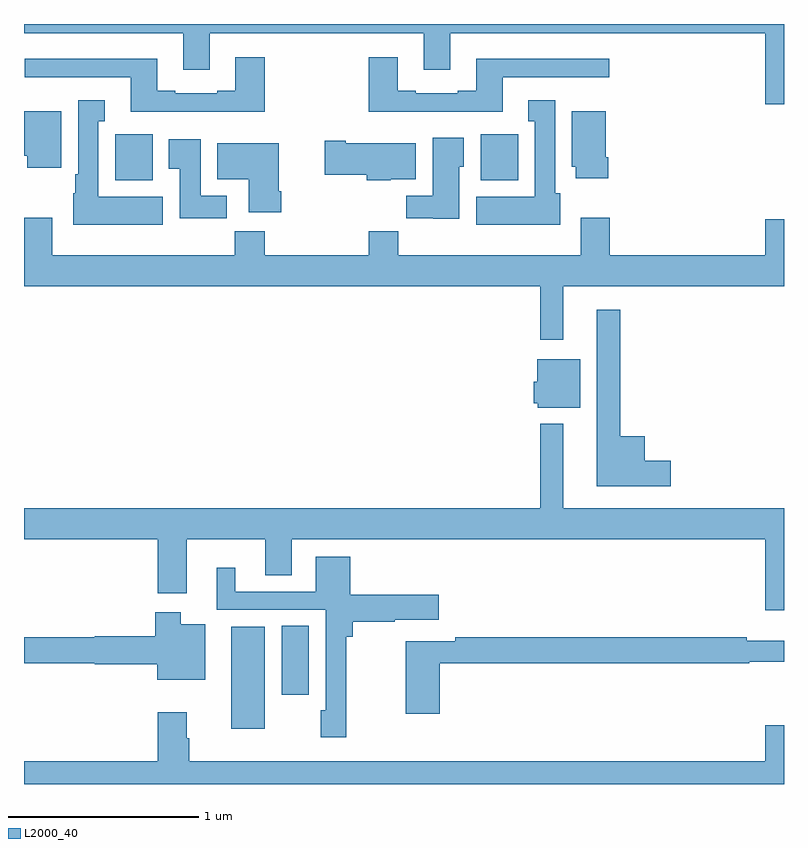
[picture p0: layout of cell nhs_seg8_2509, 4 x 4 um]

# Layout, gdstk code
import gdstk
lib = gdstk.Library(unit=1e-6, precision=1e-09)
def R(c, l, rs):  # rectangles x0, y0, x1, y1
    for r in rs: c.add(gdstk.rectangle(r[:2], r[2:], *l))
def P(c, l, *ps):  # polygons
    for p in ps: c.add(gdstk.Polygon(p, *l))
L2000_40 = (2000, 40)

nhs_seg8_2509 = lib.new_cell('nhs_seg8_2509')
R(nhs_seg8_2509, L2000_40, [(270.092,1094.192,270.268,1094.728), (270.356,1094.37,270.499,1094.732), (269.48,1097.078,269.677,1097.32), (271.403,1097.078,271.6,1097.32)])
P(nhs_seg8_2509, L2000_40, [(273,1097.9),(269,1097.9),(269,1097.852),(269.837,1097.852),(269.837,1097.658),(269.977,1097.658),(269.977,1097.852),(271.103,1097.852),(271.103,1097.658),(271.243,1097.658),(271.243,1097.852),(272.9,1097.852),(272.9,1097.478),(273,1097.478)],
  [(270.266,1097.725),(270.113,1097.725),(270.113,1097.548),(270.017,1097.548),(270.017,1097.535),(269.797,1097.535),(269.797,1097.548),(269.701,1097.548),(269.701,1097.716),(269.004,1097.716),(269.004,1097.621),(269.113,1097.621),(269.113,1097.619),(269.561,1097.619),(269.561,1097.438),(270.266,1097.438)],
  [(271.519,1097.619),(272.08,1097.619),(272.08,1097.716),(271.379,1097.716),(271.379,1097.548),(271.283,1097.548),(271.283,1097.535),(271.063,1097.535),(271.063,1097.548),(270.967,1097.548),(270.967,1097.725),(270.815,1097.725),(270.815,1097.438),(271.519,1097.438)],
  [(271.822,1097.01),(271.795,1097.01),(271.795,1097.5),(271.655,1097.5),(271.655,1097.387),(271.688,1097.387),(271.688,1096.99),(271.379,1096.99),(271.379,1096.844),(271.822,1096.844)],
  [(269.731,1096.99),(269.392,1096.99),(269.392,1097.387),(269.425,1097.387),(269.425,1097.5),(269.285,1097.5),(269.285,1097.11),(269.27,1097.11),(269.27,1097.01),(269.258,1097.01),(269.258,1096.844),(269.731,1096.844)],
  [(269.197,1097.44),(269,1097.44),(269,1097.207),(269.018,1097.207),(269.018,1097.144),(269.197,1097.144)],
  [(272.075,1097.2),(272.062,1097.2),(272.062,1097.44),(271.883,1097.44),(271.883,1097.148),(271.904,1097.148),(271.904,1097.088),(272.075,1097.088)],
  [(271.291,1097.148),(271.315,1097.148),(271.315,1097.302),(271.151,1097.302),(271.151,1096.996),(271.012,1096.996),(271.012,1096.878),(271.155,1096.878),(271.155,1096.874),(271.291,1096.874)],
  [(270.068,1096.996),(269.929,1096.996),(269.929,1097.293),(269.762,1097.293),(269.762,1097.137),(269.819,1097.137),(269.819,1096.878),(270.068,1096.878)],
  [(270.93,1097.084),(271.063,1097.084),(271.063,1097.272),(270.694,1097.272),(270.694,1097.285),(270.582,1097.285),(270.582,1097.107),(270.805,1097.107),(270.805,1097.078),(270.93,1097.078)],
  [(270.353,1097.02),(270.34,1097.02),(270.34,1097.272),(270.017,1097.272),(270.017,1097.084),(270.182,1097.084),(270.182,1096.908),(270.353,1096.908)],
  [(271.837,1096.52),(273,1096.52),(273,1096.873),(272.9,1096.873),(272.9,1096.684),(272.084,1096.684),(272.084,1096.879),(271.931,1096.879),(271.931,1096.684),(270.971,1096.684),(270.971,1096.808),(270.815,1096.808),(270.815,1096.684),(270.266,1096.684),(270.266,1096.808),(270.109,1096.808),(270.109,1096.684),(269.149,1096.684),(269.149,1096.879),(269,1096.879),(269,1096.52),(271.716,1096.52),(271.716,1096.239),(271.837,1096.239)],
  [(272.404,1095.602),(272.266,1095.602),(272.266,1095.73),(272.137,1095.73),(272.137,1096.396),(272.015,1096.396),(272.015,1095.467),(272.404,1095.467)],
  [(271.927,1096.135),(271.7,1096.135),(271.7,1096.017),(271.682,1096.017),(271.682,1095.903),(271.704,1095.903),(271.704,1095.881),(271.927,1095.881)],
  [(273,1095.352),(271.837,1095.352),(271.837,1095.796),(271.716,1095.796),(271.716,1095.352),(269,1095.352),(269,1095.188),(269.705,1095.188),(269.705,1094.904),(269.857,1094.904),(269.857,1095.188),(270.269,1095.188),(270.269,1094.998),(270.409,1094.998),(270.409,1095.188),(272.9,1095.188),(272.9,1094.814),(273,1094.814)],
  [(270.697,1094.675),(270.731,1094.675),(270.731,1094.753),(270.95,1094.753),(270.95,1094.765),(271.183,1094.765),(271.183,1094.895),(270.718,1094.895),(270.718,1095.097),(270.536,1095.097),(270.536,1094.913),(270.112,1094.913),(270.112,1095.037),(270.014,1095.037),(270.014,1094.817),(270.588,1094.817),(270.588,1094.289),(270.562,1094.289),(270.562,1094.145),(270.697,1094.145)],
  [(269.953,1094.74),(269.824,1094.74),(269.824,1094.803),(269.69,1094.803),(269.69,1094.678),(269.373,1094.678),(269.373,1094.672),(269,1094.672),(269,1094.536),(269.373,1094.536),(269.373,1094.531),(269.702,1094.531),(269.702,1094.45),(269.953,1094.45)],
  [(271.187,1094.536),(272.818,1094.536),(272.818,1094.544),(273,1094.544),(273,1094.653),(272.804,1094.653),(272.804,1094.672),(271.27,1094.672),(271.27,1094.652),(271.009,1094.652),(271.009,1094.271),(271.187,1094.271)],
  [(273,1094.209),(272.9,1094.209),(272.9,1094.02),(269.87,1094.02),(269.87,1094.141),(269.857,1094.141),(269.857,1094.278),(269.705,1094.278),(269.705,1094.02),(269,1094.02),(269,1093.9),(273,1093.9)])

lib.write_gds('nhs_seg8_2509.gds')
